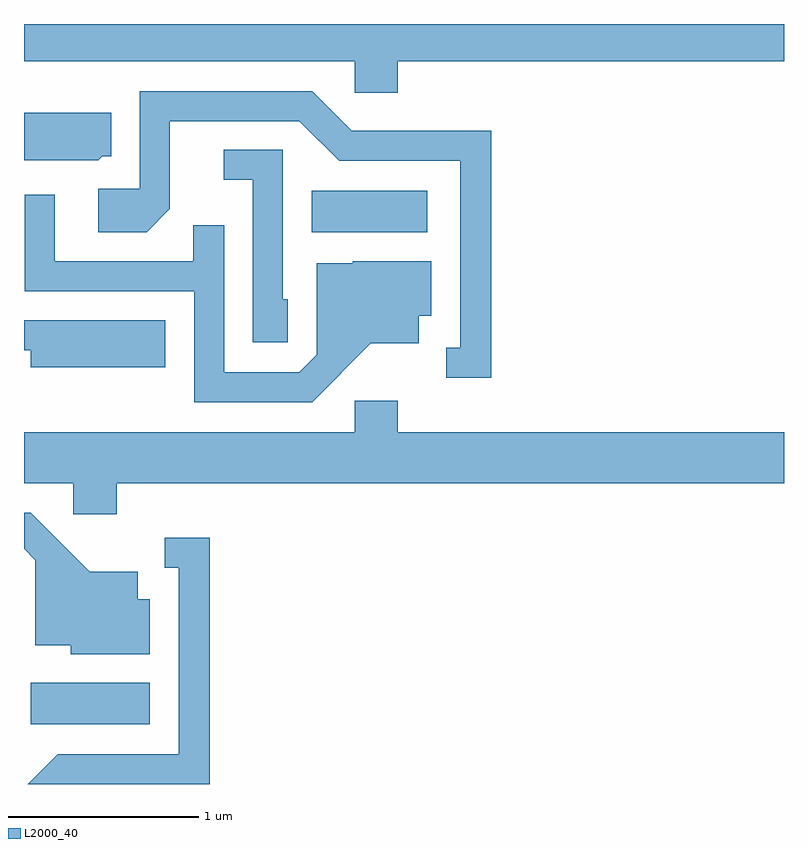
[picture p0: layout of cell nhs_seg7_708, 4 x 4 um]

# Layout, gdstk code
import gdstk
lib = gdstk.Library(unit=1e-6, precision=1e-09)
def R(c, l, rs):  # rectangles x0, y0, x1, y1
    for r in rs: c.add(gdstk.rectangle(r[:2], r[2:], *l))
def P(c, l, *ps):  # polygons
    for p in ps: c.add(gdstk.Polygon(p, *l))
L2000_40 = (2000, 40)

nhs_seg7_708 = lib.new_cell('nhs_seg7_708')
R(nhs_seg7_708, L2000_40, [(205.646,1748.566,206.274,1748.784), (207.126,1751.156,207.734,1751.374)])
P(nhs_seg7_708, L2000_40, [(207.579,1752.056),(209.611,1752.056),(209.611,1752.252),(205.611,1752.252),(205.611,1752.056),(207.351,1752.056),(207.351,1751.891),(207.579,1751.891)],
  [(208.069,1751.689),(207.337,1751.689),(207.127,1751.899),(206.221,1751.899),(206.221,1751.384),(206.001,1751.384),(206.001,1751.156),(206.257,1751.156),(206.379,1751.279),(206.379,1751.741),(207.059,1751.741),(207.269,1751.531),(207.906,1751.531),(207.906,1750.549),(207.833,1750.549),(207.833,1750.391),(208.069,1750.391)],
  [(206.022,1751.556),(206.069,1751.556),(206.069,1751.784),(205.611,1751.784),(205.611,1751.536),(206.002,1751.536)],
  [(206.999,1750.804),(206.974,1750.804),(206.974,1751.589),(206.663,1751.589),(206.663,1751.431),(206.816,1751.431),(206.816,1750.576),(206.999,1750.576)],
  [(207.437,1750.571),(207.689,1750.571),(207.689,1750.716),(207.754,1750.716),(207.754,1751.004),(207.34,1751.004),(207.34,1750.994),(207.151,1750.994),(207.151,1750.512),(207.059,1750.419),(206.664,1750.419),(206.664,1751.193),(206.501,1751.193),(206.501,1751.004),(205.774,1751.004),(205.774,1751.353),(205.616,1751.353),(205.616,1750.846),(206.506,1750.846),(206.506,1750.261),(207.127,1750.261)],
  [(206.354,1750.694),(205.611,1750.694),(205.611,1750.536),(205.646,1750.536),(205.646,1750.446),(206.354,1750.446)],
  [(206.099,1749.836),(209.611,1749.836),(209.611,1750.104),(207.579,1750.104),(207.579,1750.269),(207.351,1750.269),(207.351,1750.104),(205.611,1750.104),(205.611,1749.836),(205.871,1749.836),(205.871,1749.671),(206.099,1749.671)],
  [(206.274,1749.224),(206.209,1749.224),(206.209,1749.369),(205.957,1749.369),(205.647,1749.679),(205.611,1749.679),(205.611,1749.489),(205.671,1749.429),(205.671,1748.981),(205.856,1748.981),(205.856,1748.936),(206.274,1748.936)],
  [(206.589,1749.549),(206.353,1749.549),(206.353,1749.391),(206.426,1749.391),(206.426,1748.409),(205.789,1748.409),(205.632,1748.252),(206.589,1748.252)])

lib.write_gds('nhs_seg7_708.gds')
